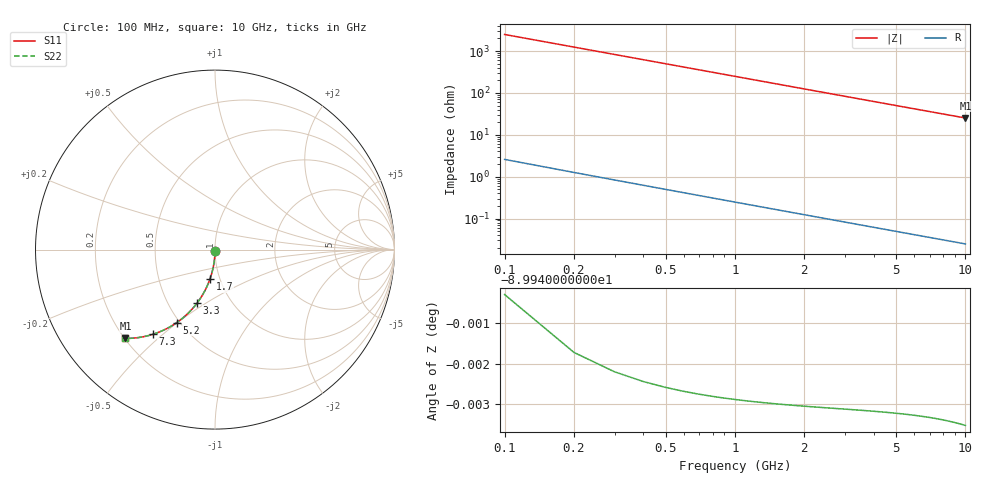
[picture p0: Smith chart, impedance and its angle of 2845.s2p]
# Hz S RI R 50.00
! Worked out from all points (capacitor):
!   100 points, 100 MHz to 10 GHz, reference 50 ohm
!   read as one part in shunt: C = 641 fF near 100 MHz
!   lowest |Z| = 25.2 ohm at 10 GHz (marker M1)
!   S11 on the Smith chart (normalised r, x): 100 MHz: 1.00, -0.02; 1.7 GHz: 0.90, -0.30; 3.3 GHz: 0.70, -0.46; 5.2 GHz: 0.48, -0.50; 7.3 GHz: 0.32, -0.46; 10 GHz: 0.20, -0.40
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1e8  -0.000103 -0.01  0.9999 -0.0101  0.9999 -0.0101  -0.000103 -0.01
2e8  -0.000417 -0.02  0.9996 -0.0202  0.9996 -0.0202  -0.000417 -0.02
3e8  -0.000933 -0.0301  0.999 -0.0303  0.999 -0.0303  -0.000933 -0.0301
4e8  -0.00165 -0.04  0.9983 -0.0404  0.9983 -0.0404  -0.00165 -0.04
5e8  -0.00257 -0.05  0.9974 -0.0505  0.9974 -0.0505  -0.00257 -0.05
6e8  -0.00369 -0.0599  0.9963 -0.0605  0.9963 -0.0605  -0.00369 -0.0599
8e8  -0.00652 -0.0797  0.9935 -0.0804  0.9935 -0.0804  -0.00652 -0.0797
1.1e9  -0.0122 -0.1089  0.9878 -0.1099  0.9878 -0.1099  -0.0122 -0.1089
1.4e9  -0.0196 -0.1375  0.9804 -0.1388  0.9804 -0.1388  -0.0196 -0.1375
1.7e9  -0.0286 -0.1654  0.9714 -0.1669  0.9714 -0.1669  -0.0286 -0.1654
1.8e9  -0.0319 -0.1745  0.9681 -0.1761  0.9681 -0.1761  -0.0319 -0.1745
2.1e9  -0.0429 -0.2011  0.9571 -0.203  0.9571 -0.203  -0.0429 -0.2011
2.5e9  -0.0596 -0.2351  0.9404 -0.2374  0.9404 -0.2374  -0.0596 -0.2351
3.3e9  -0.0992 -0.2969  0.9008 -0.2999  0.9008 -0.2999  -0.0992 -0.2969
3.4e9  -0.1046 -0.304  0.8954 -0.3071  0.8954 -0.3071  -0.1046 -0.304
4.2e9  -0.151 -0.3556  0.849 -0.3595  0.849 -0.3595  -0.151 -0.3556
5.1e9  -0.2073 -0.4025  0.7927 -0.4072  0.7927 -0.4072  -0.2073 -0.4025
5.2e9  -0.2137 -0.407  0.7863 -0.4118  0.7863 -0.4118  -0.2137 -0.407
6.7e9  -0.3101 -0.4589  0.6899 -0.4651  0.6899 -0.4651  -0.3101 -0.4589
7.3e9  -0.3476 -0.4723  0.6524 -0.4791  0.6524 -0.4791  -0.3476 -0.4723
8.4e9  -0.4131 -0.488  0.5868 -0.4958  0.5868 -0.4958  -0.4131 -0.488
1e10  -0.4987 -0.4948  0.5012 -0.5042  0.5012 -0.5042  -0.4987 -0.4948
